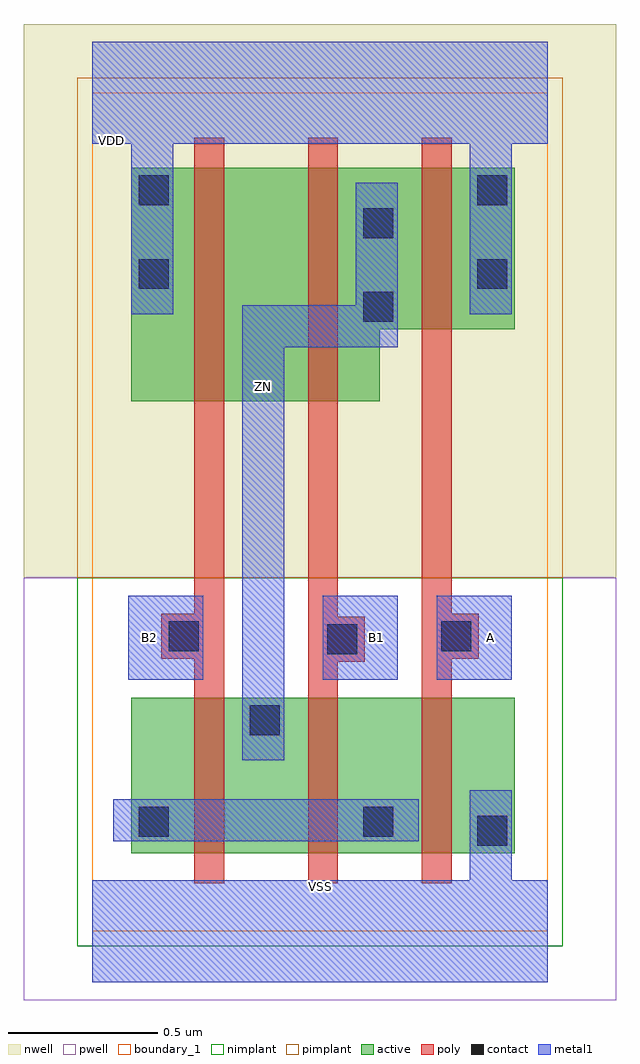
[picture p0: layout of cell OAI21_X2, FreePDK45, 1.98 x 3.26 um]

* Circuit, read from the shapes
.subckt OAI21_X2 A B1 B2 VDD VSS ZN
M1 ZN B2 n1 VSUBS nfet w=0.52u l=0.1u
M2 n1 B1 ZN VSUBS nfet w=0.52u l=0.1u
M3 VSS A n1 VSUBS nfet w=0.52u l=0.1u
M4 n2 B2 VDD n3 pfet w=0.78u l=0.1u
M5 ZN B1 n2 n3 pfet w=0.78u l=0.1u
M6 VDD A ZN n3 pfet w=0.54u l=0.1u
.ends

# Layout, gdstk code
import gdstk
lib = gdstk.Library(unit=1e-6, precision=1e-09)
def R(c, l, rs):  # rectangles x0, y0, x1, y1
    for r in rs: c.add(gdstk.rectangle(r[:2], r[2:], *l))
def P(c, l, *ps):  # polygons
    for p in ps: c.add(gdstk.Polygon(p, *l))
active = (1, 0)
pwell = (2, 0)
nwell = (3, 0)
nimplant = (4, 0)
pimplant = (5, 0)
poly = (9, 0)
contact = (10, 0)
metal1 = (11, 0)
boundary_1 = (235, 1)

oai21_x2 = lib.new_cell('OAI21_X2')
R(oai21_x2, active, [(0.13,0.26,1.41,0.78)])
P(oai21_x2, active, [(0.13,1.77),(0.96,1.77),(0.96,2.01),(1.41,2.01),(1.41,2.55),(0.13,2.55)])
R(oai21_x2, pwell, [(-0.23,-0.23,1.75,1.18)])
R(oai21_x2, nwell, [(-0.23,1.18,1.75,3.03)])
R(oai21_x2, nimplant, [(-0.05,-0.05,1.57,1.18)])
R(oai21_x2, pimplant, [(-0.05,1.18,1.57,2.85)])
P(oai21_x2, poly, [(1.1,0.16),(1.2,0.16),(1.2,0.91),(1.29,0.91),(1.29,1.06),(1.2,1.06),(1.2,2.65),(1.1,2.65)],
  [(0.72,0.16),(0.82,0.16),(0.82,0.9),(0.91,0.9),(0.91,1.05),(0.82,1.05),(0.82,2.65),(0.72,2.65)],
  [(0.23,0.91),(0.34,0.91),(0.34,0.16),(0.44,0.16),(0.44,2.65),(0.34,2.65),(0.34,1.06),(0.23,1.06)])
R(oai21_x2, contact, [(1.285,0.285,1.385,0.385), (0.155,0.315,0.255,0.415), (0.905,0.315,1.005,0.415), (0.525,0.655,0.625,0.755), (0.785,0.925,0.885,1.025), (0.255,0.935,0.355,1.035), (1.165,0.935,1.265,1.035), (0.905,2.035,1.005,2.135), (0.155,2.145,0.255,2.245), (1.285,2.145,1.385,2.245), (0.905,2.315,1.005,2.415), (0.155,2.425,0.255,2.525), (1.285,2.425,1.385,2.525)])
R(oai21_x2, metal1, [(0.07,0.3,1.09,0.44), (0.12,0.84,0.37,1.12), (0.12,0.84,0.37,1.12), (0.77,0.84,1.02,1.12), (0.77,0.84,1.02,1.12), (1.15,0.84,1.4,1.12), (1.15,0.84,1.4,1.12)])
P(oai21_x2, metal1, [(0.5,0.57),(0.64,0.57),(0.64,1.95),(1.02,1.95),(1.02,2.5),(0.88,2.5),(0.88,2.09),(0.5,2.09)],
  [(0,-0.17),(1.52,-0.17),(1.52,0.17),(1.4,0.17),(1.4,0.47),(1.26,0.47),(1.26,0.17),(0,0.17)],
  [(0,2.63),(0.13,2.63),(0.13,2.06),(0.27,2.06),(0.27,2.63),(1.26,2.63),(1.26,2.06),(1.4,2.06),(1.4,2.63),(1.52,2.63),(1.52,2.97),(0,2.97)],
  [(0,2.63),(0.13,2.63),(0.13,2.06),(0.27,2.06),(0.27,2.63),(1.26,2.63),(1.26,2.06),(1.4,2.06),(1.4,2.63),(1.52,2.63),(1.52,2.97),(0,2.97)],
  [(0,-0.17),(1.52,-0.17),(1.52,0.17),(1.4,0.17),(1.4,0.47),(1.26,0.47),(1.26,0.17),(0,0.17)],
  [(0.5,0.57),(0.64,0.57),(0.64,1.95),(1.02,1.95),(1.02,2.5),(0.88,2.5),(0.88,2.09),(0.5,2.09)])
R(oai21_x2, boundary_1, [(0,0,1.52,2.8)])
oai21_x2.add(gdstk.Label('ZN', (0.57,1.82), layer=11, texttype=0))
oai21_x2.add(gdstk.Label('VSS', (0.76,0.15), layer=11, texttype=0))
oai21_x2.add(gdstk.Label('VDD', (0.065,2.64), layer=11, texttype=0))
oai21_x2.add(gdstk.Label('B2', (0.19,0.98), layer=11, texttype=0))
oai21_x2.add(gdstk.Label('B1', (0.95,0.98), layer=11, texttype=0))
oai21_x2.add(gdstk.Label('A', (1.33,0.98), layer=11, texttype=0))

lib.write_gds('OAI21_X2.gds')
